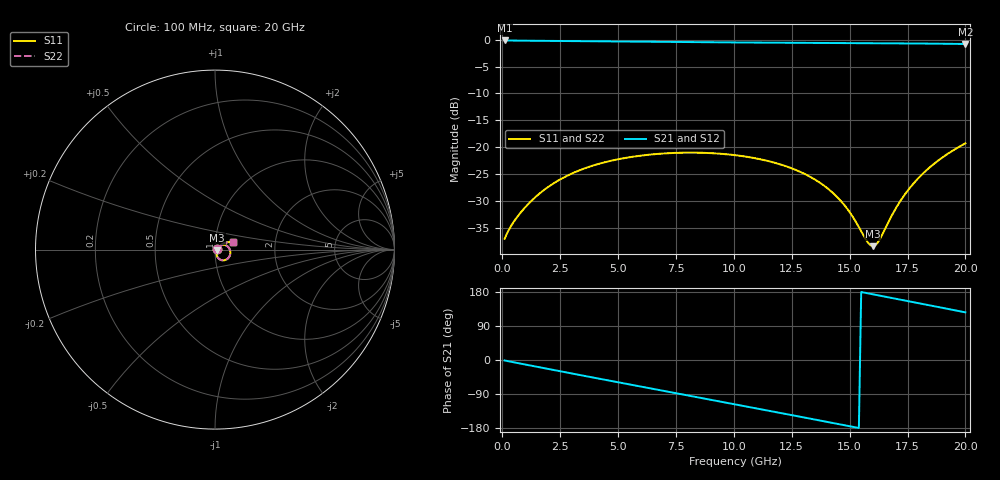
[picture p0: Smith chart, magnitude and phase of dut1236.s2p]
! Touchstone file exported from HFSS 2026.1.0
!  File:  C:/ffzhzh/LocalFiles/Ansys_Project_Files/temp_train_TSV_RDL_1236_1783323228_30076.aedt
!  Generated:  03:43:48 PM Jul  6, 2026
!  Design:  TSV_RDL
!  Project:  temp_train_TSV_RDL_1236_1783323228_30076
! Variables:
!  h_bsmrdl = 5.76um
!  h_ox = 20um
!  h_rdl = 5um
!  h_sub = 92.94um
!  h_tmrdl = 4.51um
!  h_tsv = 92.94um
!  h_via = 3um
!  l_bsmrdl = 668.54um
!  l_sub = 3196.2um
!  l_tmrdl = 171.05um
!  m_sub = 200um
!  pitch = 27.66um
!  r_tsv = 11.9um
!  s_tmrdl = 10um
!  w_bsmrdl = 12.57um
!  w_sub = 500um
!  w_tmrdl = 22.89um
!  x_tsv_center1 = 182.495um
!  x_tsv_center2 = 863.605um
!  x_tsv_center3 = 1057.545um
!  x_tsv_center4 = 1738.655um
!  x_tsv_center5 = 1932.595um
!  x_tsv_center6 = 2613.705um
# GHz S MA R 50.000000
! Terminal data exported
! Port[1] = TM_RDL1_1_T1
! Port[2] = TM_RDL5_1_T1
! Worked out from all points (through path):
!   200 points, 100 MHz to 20 GHz, reference 50 ohm
!   highest |S21| = -0.12 dB at 100 MHz (marker M1); lowest = -0.8 dB at 20 GHz (marker M2)
!   group delay of S21, straight-line fit = 32.4 ps
!   lowest |S11| = -38.5 dB at 16 GHz (marker M3), VSWR 1.02, Z = 51.1 - j0.413 ohm
!   |S11| at or under -10 dB: start of sweep to end of sweep
!   |S22| runs from -38.3 to -19.3 dB; largest |S21 - S12| = 4.4e-14
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0.1  0.01403 12.2  0.9863 -1.3  0.9863 -1.3  0.01403 12.2
! Gamma 0 0 0 0
! Port Impedance 50 0 50 0
0.7  0.02322 33.1  0.9825 -8.5  0.9825 -8.5  0.02322 33.1
1.5  0.03532 37.2  0.9791 -17.9  0.9791 -17.9  0.03532 37.2
2.4  0.04866 32.9  0.975 -28.5  0.975 -28.5  0.04866 32.9
3.5  0.06281 23.4  0.9694 -41.4  0.9694 -41.4  0.06281 23.4
5.2  0.07858 6.5  0.9612 -61.1  0.9612 -61.1  0.07857 6.5
6.8  0.0868 -9.5  0.9547 -79.5  0.9547 -79.5  0.08678 -9.5
8.4  0.08884 -25.2  0.9494 -98.0  0.9494 -98.0  0.08881 -25.1
10.1  0.08397 -41.3  0.9448 -117.6  0.9448 -117.6  0.08394 -41.3
11.9  0.07019 -57.5  0.9406 -138.5  0.9406 -138.5  0.07015 -57.4
13.4  0.05143 -68.9  0.9373 -155.9  0.9373 -155.9  0.05139 -68.8
14  0.0421 -72.0  0.9359 -163.0  0.9359 -163.0  0.04207 -71.8
14.6  0.0319 -72.6  0.9345 -170.0  0.9345 -170.0  0.03189 -72.3
15.1  0.02307 -68.6  0.9333 -175.9  0.9333 -175.9  0.02308 -68.2
15.8  0.01284 -38.4  0.9314 175.8  0.9314 175.8  0.01296 -37.9
16  0.01195 -19.7  0.9308 173.5  0.9308 173.5  0.01212 -19.4
16.3  0.01381 7.8  0.9299 169.9  0.9299 169.9  0.01399 7.7
16.7  0.02051 27.9  0.9286 165.2  0.9286 165.2  0.02067 27.6
17.3  0.03418 36.8  0.9265 158.0  0.9265 158.0  0.03431 36.5
18  0.05226 36.6  0.9239 149.7  0.9239 149.7  0.05237 36.4
18.9  0.07711 31.2  0.92 138.9  0.92 138.9  0.07721 31.1
20  0.1085 22.0  0.9145 125.7  0.9145 125.7  0.1085 21.9
